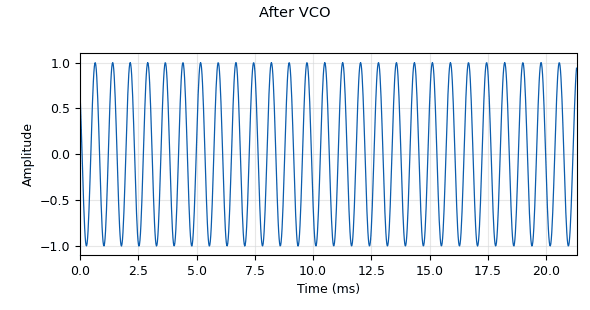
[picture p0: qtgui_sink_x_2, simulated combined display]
<?xml version='1.0' encoding='utf-8'?>
<?grc format='1' created='3.7.11'?>
<flow_graph>
<block>
<key>options</key>
<param><key>id</key><value>top_block</value></param>
<param><key>author</key><value>Abraxas3d</value></param>
<param><key>description</key><value>Chirp Transmitter for PLB</value></param>
<param><key>generate_options</key><value>qt_gui</value></param>
<param><key>title</key><value>Chirp Transmitter</value></param>
</block>
<block>
<key>variable</key>
<param><key>id</key><value>Fs</value></param>
<param><key>value</key><value>2.1</value></param>
</block>
<block>
<key>variable</key>
<param><key>id</key><value>amplitude</value></param>
<param><key>value</key><value>1300</value></param>
</block>
<block>
<key>variable</key>
<param><key>id</key><value>pi</value></param>
<param><key>value</key><value>3.14159</value></param>
</block>
<block>
<key>variable</key>
<param><key>id</key><value>samp_rate</value></param>
<param><key>value</key><value>48000</value></param>
</block>
<block>
<key>analog_sig_source_x</key>
<param><key>id</key><value>analog_sig_source_x_0</value></param>
<param><key>amp</key><value>-amplitude</value></param>
<param><key>freq</key><value>Fs</value></param>
<param><key>offset</key><value>amplitude + 300</value></param>
<param><key>type</key><value>float</value></param>
<param><key>samp_rate</key><value>samp_rate</value></param>
<param><key>waveform</key><value>analog.GR_SAW_WAVE</value></param>
</block>
<block>
<key>audio_sink</key>
<param><key>id</key><value>audio_sink_1</value></param>
<param><key>samp_rate</key><value>48000</value></param>
</block>
<block>
<key>blocks_throttle</key>
<param><key>id</key><value>blocks_throttle_1</value></param>
<param><key>samples_per_second</key><value>samp_rate</value></param>
<param><key>type</key><value>float</value></param>
</block>
<block>
<key>blocks_vco_f</key>
<param><key>id</key><value>blocks_vco_f_0</value></param>
<param><key>amplitude</key><value>1</value></param>
<param><key>samp_rate</key><value>samp_rate</value></param>
<param><key>sensitivity</key><value>(2*pi)</value></param>
</block>
<block>
<key>qtgui_sink_x</key>
<param><key>id</key><value>qtgui_sink_x_2</value></param>
<param><key>bw</key><value>samp_rate</value></param>
<param><key>fc</key><value>0</value></param>
<param><key>freqchangevar</key><value>None</value></param>
<param><key>fftsize</key><value>1024</value></param>
<param><key>name</key><value>After VCO</value></param>
<param><key>plotconst</key><value>False</value></param>
<param><key>plotfreq</key><value>False</value></param>
<param><key>showports</key><value>True</value></param>
<param><key>type</key><value>float</value></param>
<param><key>wintype</key><value>firdes.WIN_BLACKMAN_hARRIS</value></param>
</block>
<connection><source_block_id>analog_sig_source_x_0</source_block_id><sink_block_id>blocks_throttle_1</sink_block_id><source_key>0</source_key><sink_key>0</sink_key></connection>
<connection><source_block_id>blocks_throttle_1</source_block_id><sink_block_id>blocks_vco_f_0</sink_block_id><source_key>0</source_key><sink_key>0</sink_key></connection>
<connection><source_block_id>blocks_vco_f_0</source_block_id><sink_block_id>audio_sink_1</sink_block_id><source_key>0</source_key><sink_key>0</sink_key></connection>
<connection><source_block_id>blocks_vco_f_0</source_block_id><sink_block_id>qtgui_sink_x_2</sink_block_id><source_key>0</source_key><sink_key>0</sink_key></connection>
</flow_graph>
